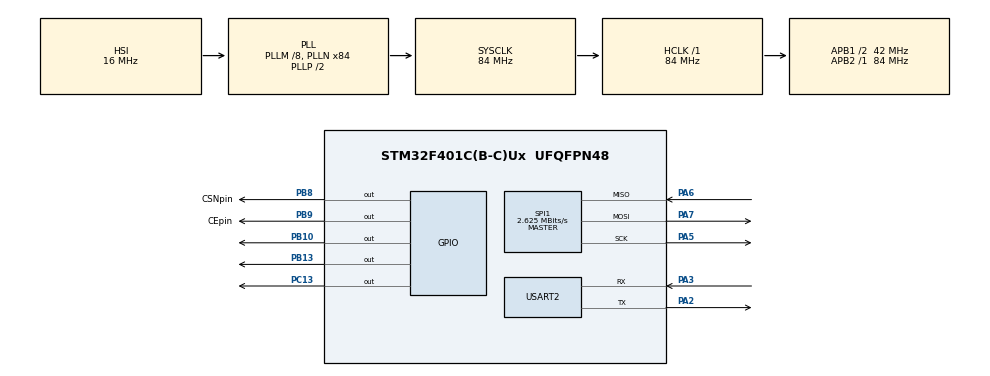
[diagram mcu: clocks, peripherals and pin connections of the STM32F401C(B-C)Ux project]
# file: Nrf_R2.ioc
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Mcu.Family=STM32F4
Mcu.Name=STM32F401C(B-C)Ux
Mcu.Package=UFQFPN48
NVIC.PriorityGroup=NVIC_PRIORITYGROUP_4
PA13.Mode=Serial_Wire
PA13.Signal=SYS_JTMS-SWDIO
PA14.Mode=Serial_Wire
PA14.Signal=SYS_JTCK-SWCLK
PA2.Mode=Asynchronous
PA2.Signal=USART2_TX
PA3.Mode=Asynchronous
PA3.Signal=USART2_RX
PA5.Mode=Full_Duplex_Master
PA5.Signal=SPI1_SCK
PA6.Mode=Full_Duplex_Master
PA6.Signal=SPI1_MISO
PA7.Mode=Full_Duplex_Master
PA7.Signal=SPI1_MOSI
PB10.Signal=GPIO_Output
PB13.GPIO_PuPd=GPIO_NOPULL
PB13.Signal=GPIO_Output
PB8.GPIO_Label=CSNpin
PB8.Signal=GPIO_Output
PB9.GPIO_Label=CEpin
PB9.Signal=GPIO_Output
PC13-ANTI_TAMP.Signal=GPIO_Output
PH0\ -\ OSC_IN.Mode=HSE-External-Oscillator
PH0\ -\ OSC_IN.Signal=RCC_OSC_IN
PH1\ -\ OSC_OUT.Mode=HSE-External-Oscillator
PH1\ -\ OSC_OUT.Signal=RCC_OSC_OUT
ProjectManager.HeapSize=0x200
ProjectManager.StackSize=0x400
ProjectManager.TargetToolchain=STM32CubeIDE
RCC.48MHZClocksFreq_Value=42000000
RCC.AHBFreq_Value=84000000
RCC.APB1CLKDivider=RCC_HCLK_DIV2
RCC.APB1Freq_Value=42000000
RCC.APB1TimFreq_Value=84000000
RCC.APB2Freq_Value=84000000
RCC.APB2TimFreq_Value=84000000
RCC.CortexFreq_Value=84000000
RCC.HCLKFreq_Value=84000000
RCC.HSE_VALUE=25000000
RCC.HSI_VALUE=16000000
RCC.LSE_VALUE=32768
RCC.PLLM=8
RCC.PLLN=84
RCC.SYSCLKFreq_VALUE=84000000
RCC.SYSCLKSource=RCC_SYSCLKSOURCE_PLLCLK
RCC.VCOOutputFreq_Value=168000000
SPI1.BaudRatePrescaler=SPI_BAUDRATEPRESCALER_32
SPI1.CalculateBaudRate=2.625 MBits/s
SPI1.Direction=SPI_DIRECTION_2LINES
SPI1.Mode=SPI_MODE_MASTER
SPI1.VirtualType=VM_MASTER
USART2.VirtualMode=VM_ASYNC
board=custom

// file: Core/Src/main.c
/* USER CODE BEGIN Header */
/**
  ******************************************************************************
  * @file           : main.c
  * @brief          : Main program body
  ******************************************************************************
  * @attention
  *
  * Copyright (c) 2025 STMicroelectronics.
  * All rights reserved.
  *
  * This software is licensed under terms that can be found in the LICENSE file
  * in the root directory of this software component.
  * If no LICENSE file comes with this software, it is provided AS-IS.
  *
  ******************************************************************************
  */
/* USER CODE END Header */
#include "main.h"

/* USER CODE BEGIN Includes */
#include "stm32f4xx_hal.h"
#include "MY_NRF24.h"
#include "stdio.h"
/* USER CODE END Includes */

SPI_HandleTypeDef hspi1;

UART_HandleTypeDef huart2;

void SystemClock_Config(void);
static void MX_GPIO_Init(void);
static void MX_SPI1_Init(void);
static void MX_USART2_UART_Init(void);

/* USER CODE BEGIN 0 */
uint64_t RxpipeAddrs = 0x11223344AA;
uint8_t myRxData[1] = {0};

/* USER CODE END 0 */

int main(void)
{

  /* MCU Configuration--------------------------------------------------------*/

  /* Reset of all peripherals, Initializes the Flash interface and the Systick. */
  HAL_Init();

  /* Configure the system clock */
  SystemClock_Config();

  /* Initialize all configured peripherals */
  MX_GPIO_Init();
  MX_SPI1_Init();
  MX_USART2_UART_Init();
  /* USER CODE BEGIN 2 */

  NRF24_begin(GPIOB, CSNpin_Pin, CEpin_Pin, hspi1);
  //nrf24_DebugUART_Init(huart2);
  //printRadioSettings();

  NRF24_setAutoAck(false);
  NRF24_setChannel(78);
  NRF24_setPayloadSize(1);
  NRF24_openReadingPipe(1, RxpipeAddrs);
  NRF24_startListening();

  HAL_GPIO_WritePin(GPIOC, GPIO_PIN_13, GPIO_PIN_RESET);
  HAL_GPIO_WritePin(GPIOB, GPIO_PIN_13, GPIO_PIN_SET);

   uint8_t eStopTriggered = 0;

  /* USER CODE END 2 */

  /* Infinite loop */
  while (1)
  {

    /* USER CODE BEGIN 3 */
	   if (NRF24_available())
	    {
	      NRF24_read(myRxData, 1);

	      if (myRxData[0] == 255 && eStopTriggered == 0)
	      {
	        HAL_GPIO_WritePin(GPIOC, GPIO_PIN_13, GPIO_PIN_SET);
	        eStopTriggered = 1;
	      }
	    }

	   if(eStopTriggered){
	        HAL_GPIO_WritePin(GPIOB, GPIO_PIN_13, GPIO_PIN_RESET);

	   }

  }
  /* USER CODE END 3 */
}

void SystemClock_Config(void)
{
  RCC_OscInitTypeDef RCC_OscInitStruct = {0};
  RCC_ClkInitTypeDef RCC_ClkInitStruct = {0};

  /** Configure the main internal regulator output voltage
  */
  __HAL_RCC_PWR_CLK_ENABLE();
  __HAL_PWR_VOLTAGESCALING_CONFIG(PWR_REGULATOR_VOLTAGE_SCALE2);

  /** Initializes the RCC Oscillators according to the specified parameters
  * in the RCC_OscInitTypeDef structure.
  */
  RCC_OscInitStruct.OscillatorType = RCC_OSCILLATORTYPE_HSI;
  RCC_OscInitStruct.HSIState = RCC_HSI_ON;
  RCC_OscInitStruct.HSICalibrationValue = RCC_HSICALIBRATION_DEFAULT;
  RCC_OscInitStruct.PLL.PLLState = RCC_PLL_ON;
  RCC_OscInitStruct.PLL.PLLSource = RCC_PLLSOURCE_HSI;
  RCC_OscInitStruct.PLL.PLLM = 8;
  RCC_OscInitStruct.PLL.PLLN = 84;
  RCC_OscInitStruct.PLL.PLLP = RCC_PLLP_DIV2;
  RCC_OscInitStruct.PLL.PLLQ = 4;
  if (HAL_RCC_OscConfig(&RCC_OscInitStruct) != HAL_OK)
  {
    Error_Handler();
  }

  /** Initializes the CPU, AHB and APB buses clocks
  */
  RCC_ClkInitStruct.ClockType = RCC_CLOCKTYPE_HCLK|RCC_CLOCKTYPE_SYSCLK
                              |RCC_CLOCKTYPE_PCLK1|RCC_CLOCKTYPE_PCLK2;
  RCC_ClkInitStruct.SYSCLKSource = RCC_SYSCLKSOURCE_PLLCLK;
  RCC_ClkInitStruct.AHBCLKDivider = RCC_SYSCLK_DIV1;
  RCC_ClkInitStruct.APB1CLKDivider = RCC_HCLK_DIV2;
  RCC_ClkInitStruct.APB2CLKDivider = RCC_HCLK_DIV1;

  if (HAL_RCC_ClockConfig(&RCC_ClkInitStruct, FLASH_LATENCY_2) != HAL_OK)
  {
    Error_Handler();
  }
}

static void MX_SPI1_Init(void)
{

  /* SPI1 parameter configuration*/
  hspi1.Instance = SPI1;
  hspi1.Init.Mode = SPI_MODE_MASTER;
  hspi1.Init.Direction = SPI_DIRECTION_2LINES;
  hspi1.Init.DataSize = SPI_DATASIZE_8BIT;
  hspi1.Init.CLKPolarity = SPI_POLARITY_LOW;
  hspi1.Init.CLKPhase = SPI_PHASE_1EDGE;
  hspi1.Init.NSS = SPI_NSS_SOFT;
  hspi1.Init.BaudRatePrescaler = SPI_BAUDRATEPRESCALER_32;
  hspi1.Init.FirstBit = SPI_FIRSTBIT_MSB;
  hspi1.Init.TIMode = SPI_TIMODE_DISABLE;
  hspi1.Init.CRCCalculation = SPI_CRCCALCULATION_DISABLE;
  hspi1.Init.CRCPolynomial = 10;
  if (HAL_SPI_Init(&hspi1) != HAL_OK)
  {
    Error_Handler();
  }

}

static void MX_USART2_UART_Init(void)
{

  huart2.Instance = USART2;
  huart2.Init.BaudRate = 115200;
  huart2.Init.WordLength = UART_WORDLENGTH_8B;
  huart2.Init.StopBits = UART_STOPBITS_1;
  huart2.Init.Parity = UART_PARITY_NONE;
  huart2.Init.Mode = UART_MODE_TX_RX;
  huart2.Init.HwFlowCtl = UART_HWCONTROL_NONE;
  huart2.Init.OverSampling = UART_OVERSAMPLING_16;
  if (HAL_UART_Init(&huart2) != HAL_OK)
  {
    Error_Handler();
  }

}

static void MX_GPIO_Init(void)
{
  GPIO_InitTypeDef GPIO_InitStruct = {0};

  /* GPIO Ports Clock Enable */
  __HAL_RCC_GPIOC_CLK_ENABLE();
  __HAL_RCC_GPIOH_CLK_ENABLE();
  __HAL_RCC_GPIOA_CLK_ENABLE();
  __HAL_RCC_GPIOB_CLK_ENABLE();

  /*Configure GPIO pin Output Level */
  HAL_GPIO_WritePin(GPIOC, GPIO_PIN_13, GPIO_PIN_RESET);

  /*Configure GPIO pin Output Level */
  HAL_GPIO_WritePin(GPIOB, GPIO_PIN_10|GPIO_PIN_13|CSNpin_Pin|CEpin_Pin, GPIO_PIN_RESET);

  /*Configure GPIO pin : PC13 */
  GPIO_InitStruct.Pin = GPIO_PIN_13;
  GPIO_InitStruct.Mode = GPIO_MODE_OUTPUT_PP;
  GPIO_InitStruct.Pull = GPIO_NOPULL;
  GPIO_InitStruct.Speed = GPIO_SPEED_FREQ_LOW;
  HAL_GPIO_Init(GPIOC, &GPIO_InitStruct);

  /*Configure GPIO pins : PB10 PB13 CSNpin_Pin CEpin_Pin */
  GPIO_InitStruct.Pin = GPIO_PIN_10|GPIO_PIN_13|CSNpin_Pin|CEpin_Pin;
  GPIO_InitStruct.Mode = GPIO_MODE_OUTPUT_PP;
  GPIO_InitStruct.Pull = GPIO_NOPULL;
  GPIO_InitStruct.Speed = GPIO_SPEED_FREQ_LOW;
  HAL_GPIO_Init(GPIOB, &GPIO_InitStruct);

}

void Error_Handler(void)
{
  __disable_irq();
  while (1)
  {
  }
}
